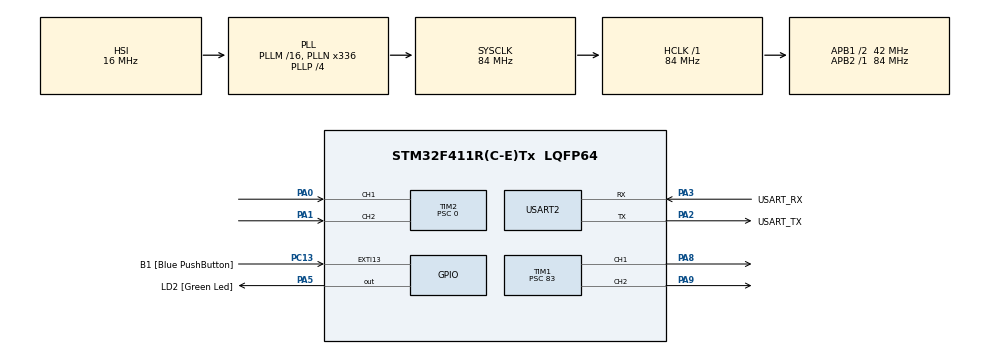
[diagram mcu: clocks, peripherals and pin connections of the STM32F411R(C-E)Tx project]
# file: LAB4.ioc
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Mcu.Family=STM32F4
Mcu.Name=STM32F411R(C-E)Tx
Mcu.Package=LQFP64
NVIC.PriorityGroup=NVIC_PRIORITYGROUP_0
NVIC.TIM5_IRQn=true\:0\:0\:false\:false\:true\:true\:true\:true
PA0-WKUP.Signal=S_TIM2_CH1_ETR
PA1.Signal=S_TIM2_CH2
PA13.GPIO_Label=TMS
PA13.Mode=Trace_Asynchronous_SW
PA13.Signal=SYS_JTMS-SWDIO
PA14.GPIO_Label=TCK
PA14.Mode=Trace_Asynchronous_SW
PA14.Signal=SYS_JTCK-SWCLK
PA2.GPIO_Label=USART_TX
PA2.Mode=Asynchronous
PA2.Signal=USART2_TX
PA3.GPIO_Label=USART_RX
PA3.Mode=Asynchronous
PA3.Signal=USART2_RX
PA5.GPIO_Label=LD2 [Green Led]
PA5.Signal=GPIO_Output
PA8.Signal=S_TIM1_CH1
PA9.Signal=S_TIM1_CH2
PB3.GPIO_Label=SWO
PB3.Mode=Trace_Asynchronous_SW
PB3.Signal=SYS_JTDO-SWO
PC13-ANTI_TAMP.GPIO_Label=B1 [Blue PushButton]
PC13-ANTI_TAMP.GPIO_ModeDefaultEXTI=GPIO_MODE_IT_FALLING
PC13-ANTI_TAMP.Signal=GPXTI13
PC14-OSC32_IN.Mode=LSE-External-Oscillator
PC14-OSC32_IN.Signal=RCC_OSC32_IN
PC15-OSC32_OUT.Mode=LSE-External-Oscillator
PC15-OSC32_OUT.Signal=RCC_OSC32_OUT
PH0\ -\ OSC_IN.Mode=HSE-External-Clock-Source
PH0\ -\ OSC_IN.Signal=RCC_OSC_IN
PH1\ -\ OSC_OUT.Mode=HSE-External-Clock-Source
PH1\ -\ OSC_OUT.Signal=RCC_OSC_OUT
ProjectManager.HeapSize=0x200
ProjectManager.StackSize=0x400
ProjectManager.TargetToolchain=STM32CubeIDE
RCC.48MHZClocksFreq_Value=84000000
RCC.AHBFreq_Value=84000000
RCC.APB1CLKDivider=RCC_HCLK_DIV2
RCC.APB1Freq_Value=42000000
RCC.APB1TimFreq_Value=84000000
RCC.APB2Freq_Value=84000000
RCC.APB2TimFreq_Value=84000000
RCC.CortexFreq_Value=84000000
RCC.FLatency-AdvancedSettings=FLASH_LATENCY_2
RCC.HCLKFreq_Value=84000000
RCC.HSE_VALUE=8000000
RCC.HSI_VALUE=16000000
RCC.PLLN=336
RCC.PLLP=RCC_PLLP_DIV4
RCC.SYSCLKFreq_VALUE=84000000
RCC.SYSCLKSource=RCC_SYSCLKSOURCE_PLLCLK
RCC.VCOOutputFreq_Value=336000000
SH.S_TIM1_CH1.0=TIM1_CH1,PWM Generation1 CH1
SH.S_TIM1_CH2.0=TIM1_CH2,PWM Generation2 CH2
SH.S_TIM2_CH1_ETR.0=TIM2_CH1,Encoder_Interface
SH.S_TIM2_CH2.0=TIM2_CH2,Encoder_Interface
TIM1.Channel-PWM\ Generation1\ CH1=TIM_CHANNEL_1
TIM1.Channel-PWM\ Generation2\ CH2=TIM_CHANNEL_2
TIM1.Period=9999
TIM1.Prescaler=83
TIM1.Pulse-PWM\ Generation1\ CH1=5000
TIM2.EncoderMode=TIM_ENCODERMODE_TI12
TIM2.Period=310271
TIM2.Prescaler=0
TIM5.Prescaler=83
USART2.VirtualMode=VM_ASYNC
VP_TIM1_VS_ClockSourceINT.Mode=Internal
VP_TIM5_VS_ClockSourceINT.Mode=Internal
board=NUCLEO-F411RE

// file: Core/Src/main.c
/* USER CODE BEGIN Header */
/**
  ******************************************************************************
  * @file           : main.c
  * @brief          : Main program body
  ******************************************************************************
  * @attention
  *
  * Copyright (c) 2023 STMicroelectronics.
  * All rights reserved.
  *
  * This software is licensed under terms that can be found in the LICENSE file
  * in the root directory of this software component.
  * If no LICENSE file comes with this software, it is provided AS-IS.
  *
  ******************************************************************************
  */
/* USER CODE END Header */
#include "main.h"

/* USER CODE BEGIN Includes */
#include "arm_math.h" //H.Wasupol
/* USER CODE END Includes */

TIM_HandleTypeDef htim1;
TIM_HandleTypeDef htim2;
TIM_HandleTypeDef htim5;

UART_HandleTypeDef huart2;

/* USER CODE BEGIN PV */
uint32_t QEI_Raw;
float32_t ang_pos = 0;

float32_t Duty = 5000.0;

uint64_t _micros = 0;

arm_pid_instance_f32 PID = {0};
float32_t ang_pos_des = 5000;
/* USER CODE END PV */

void SystemClock_Config(void);
static void MX_GPIO_Init(void);
static void MX_USART2_UART_Init(void);
static void MX_TIM2_Init(void);
static void MX_TIM1_Init(void);
static void MX_TIM5_Init(void);
/* USER CODE BEGIN PFP */
uint64_t micros();
/* USER CODE END PFP */

int main(void)
{

  /* MCU Configuration--------------------------------------------------------*/

  /* Reset of all peripherals, Initializes the Flash interface and the Systick. */
  HAL_Init();

  /* Configure the system clock */
  SystemClock_Config();

  /* Initialize all configured peripherals */
  MX_GPIO_Init();
  MX_USART2_UART_Init();
  MX_TIM2_Init();
  MX_TIM1_Init();
  MX_TIM5_Init();
  /* USER CODE BEGIN 2 */
  HAL_TIM_Encoder_Start(&htim2, TIM_CHANNEL_1 | TIM_CHANNEL_2);

  HAL_TIM_Base_Start(&htim1);

  PID.Kp = 20000;
  PID.Ki = 0;
  PID.Kd = 0;
  arm_pid_init_f32(&PID, 0);
  /* USER CODE END 2 */

  /* Infinite loop */
  while (1)
  {

    /* USER CODE BEGIN 3 */

	  static uint64_t timestamp = 0;

	  while (timestamp >= micros())
	  {
		  timestamp = micros() + 500;

		  QEI_Raw = __HAL_TIM_GET_COUNTER(&htim2);
		  ang_pos = QEI_Raw * 360/3072.0;
		  if (ang_pos > 36180)
		  {
			  ang_pos = ang_pos - 36360;
		  }

		  Duty = arm_pid_f32(&PID, ang_pos_des - ang_pos);

		  if (Duty >= 0)
		  {
			  HAL_TIM_PWM_Stop(&htim1, TIM_CHANNEL_2);
			  HAL_TIM_PWM_Start(&htim1, TIM_CHANNEL_1);

			  if (Duty > 9900)
			  {
				  Duty = 9900;
			  }
			  else if (fabs(Duty) < 1000)
			  {
				  HAL_TIM_PWM_Stop(&htim1, TIM_CHANNEL_1);
			  }

			  __HAL_TIM_SET_COMPARE(&htim1, TIM_CHANNEL_1, fabs(Duty));
		  }
		  else
		  {
			  HAL_TIM_PWM_Stop(&htim1, TIM_CHANNEL_1);
			  HAL_TIM_PWM_Start(&htim1, TIM_CHANNEL_2);

			  if (Duty < -9900)
			  {
				  Duty = -9900;
			  }
			  else if (fabs(Duty) < 1000)
			  {
				  HAL_TIM_PWM_Stop(&htim1, TIM_CHANNEL_2);
			  }

			  __HAL_TIM_SET_COMPARE(&htim1, TIM_CHANNEL_2, fabs(Duty));
		  }
	  }
  }
  /* USER CODE END 3 */
}

void SystemClock_Config(void)
{
  RCC_OscInitTypeDef RCC_OscInitStruct = {0};
  RCC_ClkInitTypeDef RCC_ClkInitStruct = {0};

  /** Configure the main internal regulator output voltage
  */
  __HAL_RCC_PWR_CLK_ENABLE();
  __HAL_PWR_VOLTAGESCALING_CONFIG(PWR_REGULATOR_VOLTAGE_SCALE1);

  /** Initializes the RCC Oscillators according to the specified parameters
  * in the RCC_OscInitTypeDef structure.
  */
  RCC_OscInitStruct.OscillatorType = RCC_OSCILLATORTYPE_HSI;
  RCC_OscInitStruct.HSIState = RCC_HSI_ON;
  RCC_OscInitStruct.HSICalibrationValue = RCC_HSICALIBRATION_DEFAULT;
  RCC_OscInitStruct.PLL.PLLState = RCC_PLL_ON;
  RCC_OscInitStruct.PLL.PLLSource = RCC_PLLSOURCE_HSI;
  RCC_OscInitStruct.PLL.PLLM = 16;
  RCC_OscInitStruct.PLL.PLLN = 336;
  RCC_OscInitStruct.PLL.PLLP = RCC_PLLP_DIV4;
  RCC_OscInitStruct.PLL.PLLQ = 4;
  if (HAL_RCC_OscConfig(&RCC_OscInitStruct) != HAL_OK)
  {
    Error_Handler();
  }

  /** Initializes the CPU, AHB and APB buses clocks
  */
  RCC_ClkInitStruct.ClockType = RCC_CLOCKTYPE_HCLK|RCC_CLOCKTYPE_SYSCLK
                              |RCC_CLOCKTYPE_PCLK1|RCC_CLOCKTYPE_PCLK2;
  RCC_ClkInitStruct.SYSCLKSource = RCC_SYSCLKSOURCE_PLLCLK;
  RCC_ClkInitStruct.AHBCLKDivider = RCC_SYSCLK_DIV1;
  RCC_ClkInitStruct.APB1CLKDivider = RCC_HCLK_DIV2;
  RCC_ClkInitStruct.APB2CLKDivider = RCC_HCLK_DIV1;

  if (HAL_RCC_ClockConfig(&RCC_ClkInitStruct, FLASH_LATENCY_2) != HAL_OK)
  {
    Error_Handler();
  }
}

static void MX_TIM1_Init(void)
{

  TIM_ClockConfigTypeDef sClockSourceConfig = {0};
  TIM_MasterConfigTypeDef sMasterConfig = {0};
  TIM_OC_InitTypeDef sConfigOC = {0};
  TIM_BreakDeadTimeConfigTypeDef sBreakDeadTimeConfig = {0};

  htim1.Instance = TIM1;
  htim1.Init.Prescaler = 83;
  htim1.Init.CounterMode = TIM_COUNTERMODE_UP;
  htim1.Init.Period = 9999;
  htim1.Init.ClockDivision = TIM_CLOCKDIVISION_DIV1;
  htim1.Init.RepetitionCounter = 0;
  htim1.Init.AutoReloadPreload = TIM_AUTORELOAD_PRELOAD_DISABLE;
  if (HAL_TIM_Base_Init(&htim1) != HAL_OK)
  {
    Error_Handler();
  }
  sClockSourceConfig.ClockSource = TIM_CLOCKSOURCE_INTERNAL;
  if (HAL_TIM_ConfigClockSource(&htim1, &sClockSourceConfig) != HAL_OK)
  {
    Error_Handler();
  }
  if (HAL_TIM_PWM_Init(&htim1) != HAL_OK)
  {
    Error_Handler();
  }
  sMasterConfig.MasterOutputTrigger = TIM_TRGO_RESET;
  sMasterConfig.MasterSlaveMode = TIM_MASTERSLAVEMODE_DISABLE;
  if (HAL_TIMEx_MasterConfigSynchronization(&htim1, &sMasterConfig) != HAL_OK)
  {
    Error_Handler();
  }
  sConfigOC.OCMode = TIM_OCMODE_PWM1;
  sConfigOC.Pulse = 5000;
  sConfigOC.OCPolarity = TIM_OCPOLARITY_HIGH;
  sConfigOC.OCNPolarity = TIM_OCNPOLARITY_HIGH;
  sConfigOC.OCFastMode = TIM_OCFAST_DISABLE;
  sConfigOC.OCIdleState = TIM_OCIDLESTATE_RESET;
  sConfigOC.OCNIdleState = TIM_OCNIDLESTATE_RESET;
  if (HAL_TIM_PWM_ConfigChannel(&htim1, &sConfigOC, TIM_CHANNEL_1) != HAL_OK)
  {
    Error_Handler();
  }
  sConfigOC.Pulse = 0;
  if (HAL_TIM_PWM_ConfigChannel(&htim1, &sConfigOC, TIM_CHANNEL_2) != HAL_OK)
  {
    Error_Handler();
  }
  sBreakDeadTimeConfig.OffStateRunMode = TIM_OSSR_DISABLE;
  sBreakDeadTimeConfig.OffStateIDLEMode = TIM_OSSI_DISABLE;
  sBreakDeadTimeConfig.LockLevel = TIM_LOCKLEVEL_OFF;
  sBreakDeadTimeConfig.DeadTime = 0;
  sBreakDeadTimeConfig.BreakState = TIM_BREAK_DISABLE;
  sBreakDeadTimeConfig.BreakPolarity = TIM_BREAKPOLARITY_HIGH;
  sBreakDeadTimeConfig.AutomaticOutput = TIM_AUTOMATICOUTPUT_DISABLE;
  if (HAL_TIMEx_ConfigBreakDeadTime(&htim1, &sBreakDeadTimeConfig) != HAL_OK)
  {
    Error_Handler();
  }
  HAL_TIM_MspPostInit(&htim1);

}

static void MX_TIM2_Init(void)
{

  TIM_Encoder_InitTypeDef sConfig = {0};
  TIM_MasterConfigTypeDef sMasterConfig = {0};

  htim2.Instance = TIM2;
  htim2.Init.Prescaler = 0;
  htim2.Init.CounterMode = TIM_COUNTERMODE_UP;
  htim2.Init.Period = 310271;
  htim2.Init.ClockDivision = TIM_CLOCKDIVISION_DIV1;
  htim2.Init.AutoReloadPreload = TIM_AUTORELOAD_PRELOAD_DISABLE;
  sConfig.EncoderMode = TIM_ENCODERMODE_TI12;
  sConfig.IC1Polarity = TIM_ICPOLARITY_RISING;
  sConfig.IC1Selection = TIM_ICSELECTION_DIRECTTI;
  sConfig.IC1Prescaler = TIM_ICPSC_DIV1;
  sConfig.IC1Filter = 0;
  sConfig.IC2Polarity = TIM_ICPOLARITY_RISING;
  sConfig.IC2Selection = TIM_ICSELECTION_DIRECTTI;
  sConfig.IC2Prescaler = TIM_ICPSC_DIV1;
  sConfig.IC2Filter = 0;
  if (HAL_TIM_Encoder_Init(&htim2, &sConfig) != HAL_OK)
  {
    Error_Handler();
  }
  sMasterConfig.MasterOutputTrigger = TIM_TRGO_RESET;
  sMasterConfig.MasterSlaveMode = TIM_MASTERSLAVEMODE_DISABLE;
  if (HAL_TIMEx_MasterConfigSynchronization(&htim2, &sMasterConfig) != HAL_OK)
  {
    Error_Handler();
  }

}

static void MX_TIM5_Init(void)
{

  TIM_ClockConfigTypeDef sClockSourceConfig = {0};
  TIM_MasterConfigTypeDef sMasterConfig = {0};

  htim5.Instance = TIM5;
  htim5.Init.Prescaler = 83;
  htim5.Init.CounterMode = TIM_COUNTERMODE_UP;
  htim5.Init.Period = 4294967295;
  htim5.Init.ClockDivision = TIM_CLOCKDIVISION_DIV1;
  htim5.Init.AutoReloadPreload = TIM_AUTORELOAD_PRELOAD_DISABLE;
  if (HAL_TIM_Base_Init(&htim5) != HAL_OK)
  {
    Error_Handler();
  }
  sClockSourceConfig.ClockSource = TIM_CLOCKSOURCE_INTERNAL;
  if (HAL_TIM_ConfigClockSource(&htim5, &sClockSourceConfig) != HAL_OK)
  {
    Error_Handler();
  }
  sMasterConfig.MasterOutputTrigger = TIM_TRGO_RESET;
  sMasterConfig.MasterSlaveMode = TIM_MASTERSLAVEMODE_DISABLE;
  if (HAL_TIMEx_MasterConfigSynchronization(&htim5, &sMasterConfig) != HAL_OK)
  {
    Error_Handler();
  }

}

static void MX_USART2_UART_Init(void)
{

  huart2.Instance = USART2;
  huart2.Init.BaudRate = 115200;
  huart2.Init.WordLength = UART_WORDLENGTH_8B;
  huart2.Init.StopBits = UART_STOPBITS_1;
  huart2.Init.Parity = UART_PARITY_NONE;
  huart2.Init.Mode = UART_MODE_TX_RX;
  huart2.Init.HwFlowCtl = UART_HWCONTROL_NONE;
  huart2.Init.OverSampling = UART_OVERSAMPLING_16;
  if (HAL_UART_Init(&huart2) != HAL_OK)
  {
    Error_Handler();
  }

}

static void MX_GPIO_Init(void)
{
  GPIO_InitTypeDef GPIO_InitStruct = {0};

  /* GPIO Ports Clock Enable */
  __HAL_RCC_GPIOC_CLK_ENABLE();
  __HAL_RCC_GPIOH_CLK_ENABLE();
  __HAL_RCC_GPIOA_CLK_ENABLE();
  __HAL_RCC_GPIOB_CLK_ENABLE();

  /*Configure GPIO pin Output Level */
  HAL_GPIO_WritePin(LD2_GPIO_Port, LD2_Pin, GPIO_PIN_RESET);

  /*Configure GPIO pin : B1_Pin */
  GPIO_InitStruct.Pin = B1_Pin;
  GPIO_InitStruct.Mode = GPIO_MODE_IT_FALLING;
  GPIO_InitStruct.Pull = GPIO_NOPULL;
  HAL_GPIO_Init(B1_GPIO_Port, &GPIO_InitStruct);

  /*Configure GPIO pin : LD2_Pin */
  GPIO_InitStruct.Pin = LD2_Pin;
  GPIO_InitStruct.Mode = GPIO_MODE_OUTPUT_PP;
  GPIO_InitStruct.Pull = GPIO_NOPULL;
  GPIO_InitStruct.Speed = GPIO_SPEED_FREQ_LOW;
  HAL_GPIO_Init(LD2_GPIO_Port, &GPIO_InitStruct);

}

/* USER CODE BEGIN 4 */
void HAL_TIM_PeriodElapsedCallback(TIM_HandleTypeDef *htim)
{
	if (htim == &htim5)
	{
		_micros += UINT32_MAX;
	}
}

uint64_t micros()
{
	return __HAL_TIM_GET_COUNTER(&htim5)+_micros;
}
/* USER CODE END 4 */

void Error_Handler(void)
{
  __disable_irq();
  while (1)
  {
  }
}
